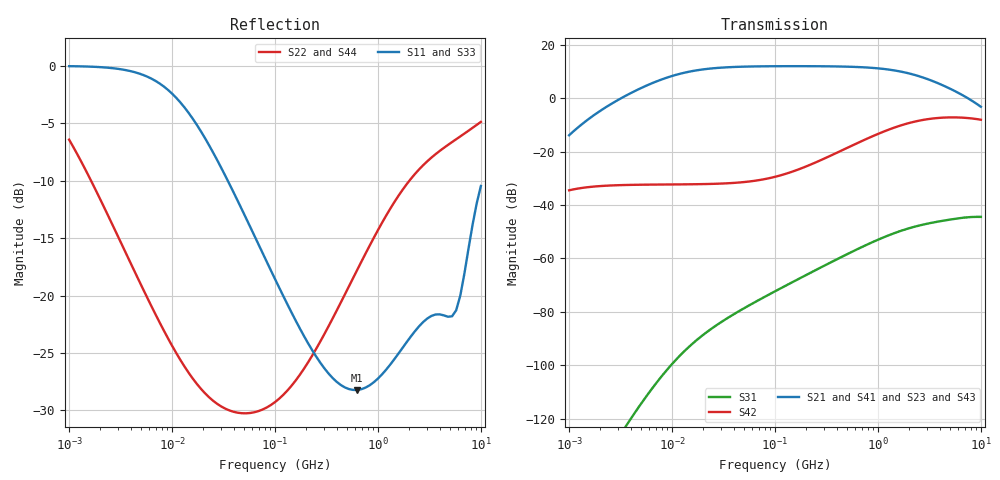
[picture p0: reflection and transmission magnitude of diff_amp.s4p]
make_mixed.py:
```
"""
Convert the .s4p of the differential amp, which are single-ended S-parameters,
  to a .s4p in mixed-mode representation and Touchstone 2.0 format.
"""



import os
import skrf
import numpy as np
import zipfile
import tempfile


TARGET_DIR = 'samples'


path_se = os.path.join(TARGET_DIR,'diff_amp.s4p')
nws = skrf.Network(path_se)

nwm = nws.copy()
nwm.renumber([0,2,1,3], [0,1,2,3])  # => P1, P2 = SE in, P3,P4 = SE out
nwm.se2gmm(p=2)                     # => P1 = diff in, P2 = diff out, P3 = CM in, P4 = CM out

with tempfile.TemporaryDirectory() as tempdir:
    print(f'Working inside temporary directory <{tempdir}>...')
    
    path_mixed = os.path.join(tempdir,'diff_amp_mixed.s4p')
    with open(path_mixed, 'w') as fp:

        fp.write(f'! Mixed-mode representation of <{path_se}>\n')
        fp.write('!         +-------+\n')
        fp.write('!    1 o--|Df   Df|--o 2\n')
        fp.write('!         |In  Out|\n')
        fp.write('!    3 o--|CM   CM|--o 4\n')
        fp.write('!         +-------+\n')
        fp.write('! This network serves as a sample for mixed-mode Touchstone 2.0 files\n')

        fp.write('[Version] 2.0\n')
        fp.write('# HZ S DB\n')
        fp.write(f'[Number of Ports] {nwm.number_of_ports}\n')
        fp.write(f'[Number of Frequencies] {len(nwm.f)}\n')

        fp.write('[Reference]')
        for i in range(nws.number_of_ports):
            fp.write(f' {np.real(nws.z0[0,i])}')  # impedance is given for the SINGLE-ENDED ports, by spec
        fp.write('\n')

        assert all(nwm.port_modes == ['D', 'D', 'C', 'C'])
        fp.write(f'[Mixed-Mode Order] D1,2 D3,4 C1,2 C3,4\n')

        s_db = 20 * np.log10(np.maximum(1e-15, np.abs(nwm.s)))
        s_deg = np.rad2deg(np.angle(nwm.s))  # angles are in degrees, by spec

        fp.write('[Network Data]\n')
        for i,f in enumerate(nwm.f):
            fp.write(f'{f}')
            for ep in range(nwm.number_of_ports):
                for ip in range(nwm.number_of_ports):
                    fp.write(f' {s_db[i,ep,ip]}')
                    fp.write(f' {s_deg[i,ep,ip]}')
            fp.write('\n')
        fp.write('[End]\n')

    zip_path = os.path.join(os.path.abspath(TARGET_DIR), 'diff_amp.zip')
    print(f'Creating <{zip_path}>...')
    with zipfile.ZipFile(zip_path, 'w') as zfp:
        zfp.write(path_se, 'diff_amp_se.s4p')
        zfp.write(path_mixed, 'diff_amp_mixed.s4p')

print(f'Done.')
```
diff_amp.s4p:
! 4-Port simulation of a differential amplifier
! Ports:
!  1 o--| +  + |--o 2
!  |In  Out|
!  3 o--| -  - |--o 4
! This network can be used to verify the single-ended to mixed-mode conversion:
!  nw("diff_amp.s4p").s2m("P1,P2,N1,N2").plot_sel_params()
[Version] 2.0
# HZ S RI R 50
[Number of Ports] 4
[Reference] 50 50 50 50
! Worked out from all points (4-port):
!   101 points, 1 MHz to 10 GHz, reference 50 ohm
!   strongest paths, dB at 1 MHz, 10 MHz, 100 MHz, 1 GHz, 10 GHz:
!     S21: -13.9, 8.3, 12.0, 11.2, -3.2
!     S41: -13.8, 8.3, 12.0, 11.2, -3.1
!     S23: -13.7, 8.3, 11.9, 11.2, -3.2
!     S43: -13.6, 8.3, 11.9, 11.1, -3.3
!     S42: -34.5, -32.3, -29.5, -13.4, -8.1
!     S31: -159.7, -99.6, -72.3, -53.0, -44.5
!   lowest |S11| = -28.2 dB at 631 MHz (marker M1), VSWR 1.08, Z = 50.9 + j3.81 ohm
!   |S11| at or under -10 dB: 34.83 MHz to end of sweep
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[Number of Frequencies] 3
[Network Data]
1000000  0.0193 -0.9981  -5.13e-10 -7.68e-10  9.62e-09 -3.51e-09  -8.58e-09 -2.46e-08
         -0.1923 0.062  0.2102 -0.4288  0.1963 -0.0672  0.0103 0.0157
         9.7e-09 -3.58e-09  -8.87e-09 -2.51e-08  -0.0152 -0.9981  -5.6e-10 -7.8e-10
         0.1926 -0.0649  0.0103 0.0157  -0.1965 0.0702  0.1982 -0.4216
6.309573e8  0.0102 0.0374  -3.95e-05 3.97e-05  0.000905 0.00118  0.000146 0.000274
            3.047 -2.319  -0.0954 -0.0877  -3.041 2.316  0.1012 0.1016
            0.000905 0.00118  0.000146 0.000274  0.00838 0.0381  -3.92e-05 3.94e-05
            -3.045 2.318  0.1016 0.102  3.036 -2.314  -0.0958 -0.0868
1e10  0.1349 0.268  -0.00169 0.00297  0.00576 -0.00154  -0.000885 0.00309
      0.2835 -0.6295  -0.3773 -0.4284  -0.2848 0.6341  0.1423 0.3666
      0.00578 -0.00153  -0.000881 0.00307  0.1339 0.2695  -0.00169 0.00296
      -0.2865 0.6351  0.1432 0.3675  0.2809 -0.6272  -0.3766 -0.4275
[End]
